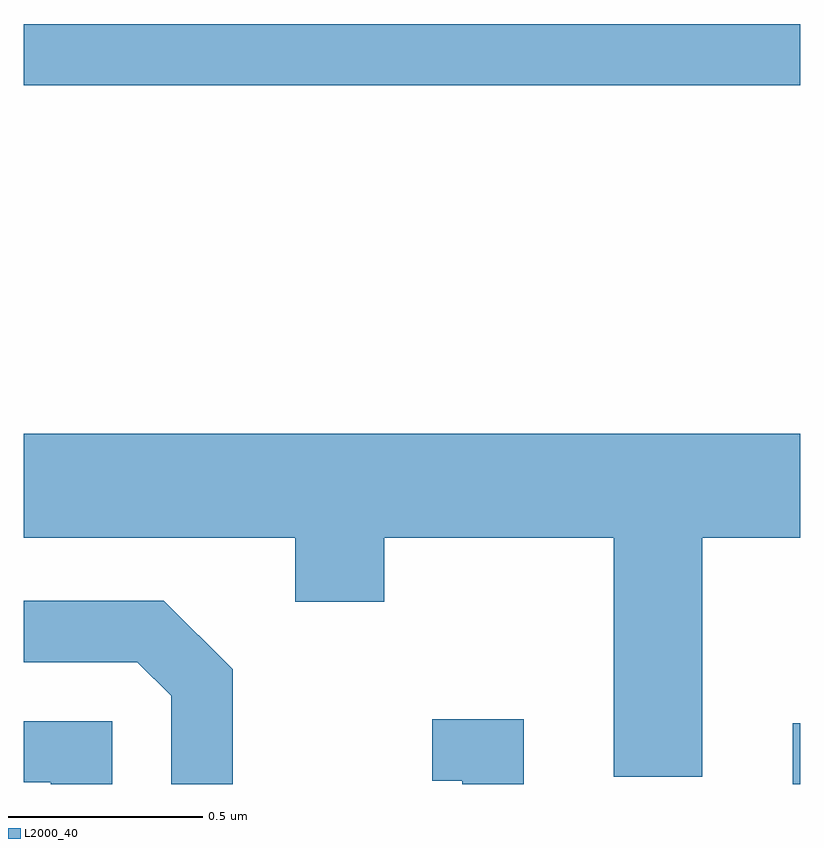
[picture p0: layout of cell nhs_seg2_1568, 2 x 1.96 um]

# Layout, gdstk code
import gdstk
lib = gdstk.Library(unit=1e-6, precision=1e-09)
def R(c, l, rs):  # rectangles x0, y0, x1, y1
    for r in rs: c.add(gdstk.rectangle(r[:2], r[2:], *l))
def P(c, l, *ps):  # polygons
    for p in ps: c.add(gdstk.Polygon(p, *l))
L2000_40 = (2000, 40)

nhs_seg2_1568 = lib.new_cell('nhs_seg2_1568')
R(nhs_seg2_1568, L2000_40, [(198.591,1038.802,198.611,1038.959), (196.611,1040.601,198.611,1040.759)])
P(nhs_seg2_1568, L2000_40, [(198.359,1039.436),(198.611,1039.436),(198.611,1039.704),(196.611,1039.704),(196.611,1039.436),(197.311,1039.436),(197.311,1039.271),(197.539,1039.271),(197.539,1039.436),(198.131,1039.436),(198.131,1038.821),(198.359,1038.821)],
  [(197.149,1039.097),(196.972,1039.274),(196.611,1039.274),(196.611,1039.116),(196.904,1039.116),(196.991,1039.029),(196.991,1038.802),(197.149,1038.802)],
  [(197.899,1038.969),(197.663,1038.969),(197.663,1038.811),(197.741,1038.811),(197.741,1038.802),(197.899,1038.802)],
  [(196.839,1038.964),(196.611,1038.964),(196.611,1038.806),(196.681,1038.806),(196.681,1038.802),(196.839,1038.802)])

lib.write_gds('nhs_seg2_1568.gds')
